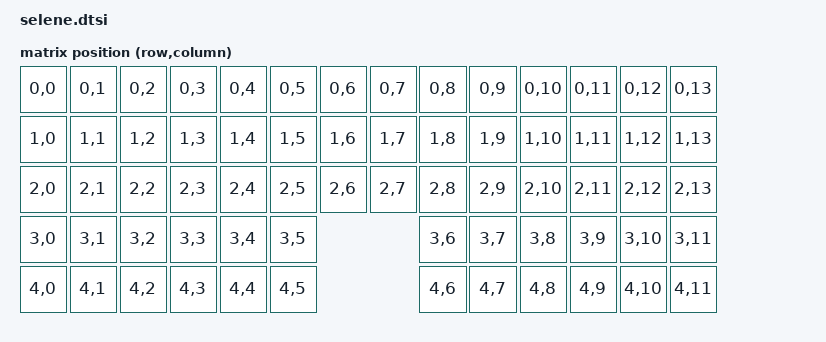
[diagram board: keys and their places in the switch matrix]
#include <dt-bindings/zmk/matrix_transform.h>
#include "selene-layouts.dtsi"

/ {
    chosen {
        zmk,kscan = &kscan0;
        zmk,matrix-transform = &default_transform;
    };

    kscan0: kscan {
        compatible = "zmk,kscan-gpio-matrix";
        wakeup-source;
        diode-direction = "col2row";
    };

    /*
     * Selene keyboard matrix layout
     *
     * Physical layout per side:
     * - 7 columns: extra, pinky, ring, middle, index, inner, extra2
     * - 5 rows: number, top, home, bottom, thumb
     *
     * Left side:  columns 0-6  (extra=0, pinky=1, ring=2, middle=3, index=4, inner=5, extra2=6)
     * Right side: columns 7-13 (extra2=7 inner=8, index=9, middle=10, ring=11, pinky=12, extra=13)
     */
    default_transform: keymap_transform_0 {
        compatible = "zmk,matrix-transform";
        columns = <14>;
        rows = <5>;
        map = <
            // Row 0: Number row (7 + 7 = 14 keys)
            RC(0,0) RC(0,1) RC(0,2) RC(0,3) RC(0,4) RC(0,5) RC(0,6)     RC(0,7) RC(0,8) RC(0,9) RC(0,10) RC(0,11) RC(0,12) RC(0,13)
            // Row 1: Top row (7 + 7 = 14 keys)
            RC(1,0) RC(1,1) RC(1,2) RC(1,3) RC(1,4) RC(1,5) RC(1,6)     RC(1,7) RC(1,8) RC(1,9) RC(1,10) RC(1,11) RC(1,12) RC(1,13)
            // Row 2: Middle row (7 + 7 = 14 keys)
            RC(2,0) RC(2,1) RC(2,2) RC(2,3) RC(2,4) RC(2,5) RC(2,6)     RC(2,7) RC(2,8) RC(2,9) RC(2,10) RC(2,11) RC(2,12) RC(2,13)
            // Row 3: Bottom row (7 + 7 = 14 keys)
            RC(3,0) RC(3,1) RC(3,2) RC(3,3) RC(3,4) RC(3,5)                     RC(3,6) RC(3,7) RC(3,8) RC(3,9) RC(3,10) RC(3,11)
            // Row 4: Thumb row (6 + 6 = 12 keys)
            RC(4,0) RC(4,1) RC(4,2) RC(4,3)         RC(4,4) RC(4,5)     RC(4,6) RC(4,7)         RC(4,8) RC(4,9) RC(4,10) RC(4,11)
        >;
    };
};
